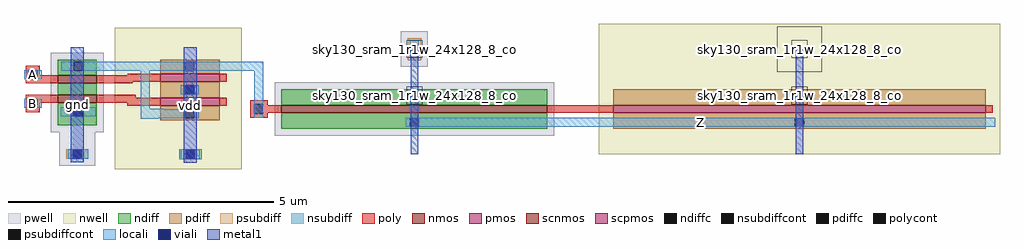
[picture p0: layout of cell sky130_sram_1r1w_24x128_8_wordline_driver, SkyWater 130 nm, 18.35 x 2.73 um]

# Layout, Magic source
magic
tech sky130B
magscale 1 2
<< locali >>
rect 70 282 136 316
rect 549 314 970 348
rect 70 174 136 208
rect 936 170 970 314
rect 1505 103 3722 137
<< metal1 >>
rect 246 -30 294 402
rect 670 -32 720 402
rect 1524 0 1552 395
rect 2972 0 3000 395
use sky130_fd_bd_sram__openram_dp_nand2_dec  sky130_fd_bd_sram__openram_dp_nand2_dec_0
transform 1 0 0 0 1 0
box 70 -56 888 476
use sky130_sram_1r1w_24x128_8_pinv_dec_0  sky130_sram_1r1w_24x128_8_pinv_dec_0_0
transform 1 0 876 0 1 0
box 44 0 2864 490
<< labels >>
rlabel locali s 2613 120 2613 120 4 Z
port 1 nsew
rlabel locali s 103 299 103 299 4 A
port 2 nsew
rlabel locali s 103 191 103 191 4 B
port 3 nsew
rlabel metal1 s 670 -32 720 402 4 vdd
port 4 nsew
rlabel metal1 s 2972 0 3000 395 4 vdd
port 4 nsew
rlabel metal1 s 1524 0 1552 395 4 gnd
port 5 nsew
rlabel metal1 s 246 -30 294 402 4 gnd
port 5 nsew
<< properties >>
string FIXED_BBOX 0 0 3722 395
<< end >>

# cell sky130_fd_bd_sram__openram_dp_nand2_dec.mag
magic
tech sky130B
magscale 1 2
<< nwell >>
rect 412 -56 888 476
<< pwell >>
rect 170 82 370 382
rect 202 -44 338 82
<< nmos >>
rect 196 266 344 296
rect 196 194 344 224
<< pmos >>
rect 582 272 806 302
rect 582 182 806 212
<< ndiff >>
rect 196 348 344 356
rect 196 314 257 348
rect 291 314 344 348
rect 196 296 344 314
rect 196 224 344 266
rect 196 176 344 194
rect 196 142 259 176
rect 293 142 344 176
rect 196 108 344 142
<< pdiff >>
rect 582 348 806 356
rect 582 314 677 348
rect 711 314 806 348
rect 582 302 806 314
rect 582 260 806 272
rect 582 226 677 260
rect 711 226 806 260
rect 582 212 806 226
rect 582 170 806 182
rect 582 136 677 170
rect 711 136 806 170
rect 582 128 806 136
<< ndiffc >>
rect 257 314 291 348
rect 259 142 293 176
<< pdiffc >>
rect 677 314 711 348
rect 677 226 711 260
rect 677 136 711 170
<< psubdiff >>
rect 228 17 312 18
rect 228 -17 253 17
rect 287 -17 312 17
rect 228 -18 312 -17
<< nsubdiff >>
rect 654 17 738 19
rect 654 -17 679 17
rect 713 -17 738 17
rect 654 -19 738 -17
<< psubdiffcont >>
rect 253 -17 287 17
<< nsubdiffcont >>
rect 679 -17 713 17
<< poly >>
rect 76 316 130 332
rect 76 282 86 316
rect 120 296 130 316
rect 460 296 582 302
rect 120 282 196 296
rect 76 266 196 282
rect 344 272 582 296
rect 806 272 832 302
rect 344 266 478 272
rect 76 208 196 224
rect 76 174 86 208
rect 120 194 196 208
rect 344 212 490 224
rect 344 194 582 212
rect 120 174 130 194
rect 76 158 130 174
rect 458 182 582 194
rect 806 182 832 212
<< polycont >>
rect 86 282 120 316
rect 86 174 120 208
<< locali >>
rect 70 282 86 316
rect 120 282 136 316
rect 210 314 257 348
rect 291 314 677 348
rect 711 314 888 348
rect 70 174 86 208
rect 120 174 136 208
rect 208 142 254 176
rect 293 142 340 176
rect 509 170 543 314
rect 660 226 677 260
rect 711 226 727 260
rect 509 169 598 170
rect 660 169 677 170
rect 509 136 677 169
rect 711 136 728 170
rect 509 135 685 136
rect 509 134 572 135
rect 236 17 312 18
rect 236 -17 253 17
rect 287 -17 312 17
rect 236 -18 312 -17
rect 660 17 730 19
rect 660 -17 679 17
rect 713 -17 730 17
rect 660 -19 730 -17
<< viali >>
rect 254 142 259 176
rect 259 142 288 176
rect 677 226 711 260
rect 253 -17 287 17
rect 679 -17 713 17
<< metal1 >>
rect 246 176 294 402
rect 246 142 254 176
rect 288 142 294 176
rect 246 17 294 142
rect 246 -17 253 17
rect 287 -17 294 17
rect 246 -30 294 -17
rect 670 260 720 402
rect 670 226 677 260
rect 711 226 720 260
rect 670 17 720 226
rect 670 -17 679 17
rect 713 -17 720 17
rect 670 -32 720 -17
<< labels >>
rlabel metal1 s 246 -30 294 402 4 GND
port 1 nsew
rlabel metal1 s 670 -32 720 402 4 VDD
port 2 nsew
rlabel locali s 103 191 103 191 4 B
port 3 nsew
rlabel locali s 103 299 103 299 4 A
port 4 nsew
rlabel locali s 854 331 854 331 4 Z
port 5 nsew
rlabel locali s 103 299 103 299 4 A
port 4 nsew
rlabel locali s 103 191 103 191 4 B
port 3 nsew
rlabel locali s 549 331 549 331 4 Z
port 5 nsew
rlabel metal1 s 695 185 695 185 4 vdd
port 6 nsew
rlabel metal1 s 270 186 270 186 4 gnd
port 7 nsew
<< properties >>
string FIXED_BBOX 0 0 876 395
<< end >>

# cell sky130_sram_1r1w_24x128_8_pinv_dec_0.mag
magic
tech sky130B
magscale 1 2
<< nwell >>
rect 1356 0 2864 490
<< poly >>
rect 77 155 136 185
rect 1188 155 1384 185
<< locali >>
rect 60 137 94 203
rect 629 103 2846 137
<< metal1 >>
rect 648 0 676 395
rect 2096 0 2124 395
use sky130_sram_1r1w_24x128_8_contact_12  sky130_sram_1r1w_24x128_8_contact_12_0
transform 1 0 2085 0 1 354
box -59 -43 109 125
use sky130_sram_1r1w_24x128_8_contact_13  sky130_sram_1r1w_24x128_8_contact_13_0
transform 1 0 2081 0 1 187
box 0 0 58 66
use sky130_sram_1r1w_24x128_8_contact_13  sky130_sram_1r1w_24x128_8_contact_13_1
transform 1 0 633 0 1 187
box 0 0 58 66
use sky130_sram_1r1w_24x128_8_contact_13  sky130_sram_1r1w_24x128_8_contact_13_2
transform 1 0 633 0 1 362
box 0 0 58 66
use sky130_sram_1r1w_24x128_8_contact_13  sky130_sram_1r1w_24x128_8_contact_13_3
transform 1 0 2081 0 1 362
box 0 0 58 66
use sky130_sram_1r1w_24x128_8_contact_14  sky130_sram_1r1w_24x128_8_contact_14_0
transform 1 0 637 0 1 354
box -26 -26 76 108
use sky130_sram_1r1w_24x128_8_contact_15  sky130_sram_1r1w_24x128_8_contact_15_0
transform 1 0 44 0 1 137
box 0 0 66 66
use sky130_sram_1r1w_24x128_8_nmos_m1_w5_000_sli_dli_da_p  sky130_sram_1r1w_24x128_8_nmos_m1_w5_000_sli_dli_da_p_0
transform 0 1 162 -1 0 245
box -26 -26 176 1026
use sky130_sram_1r1w_24x128_8_pmos_m1_w7_000_sli_dli_da_p  sky130_sram_1r1w_24x128_8_pmos_m1_w7_000_sli_dli_da_p_0
transform 0 1 1410 -1 0 245
box -59 -54 209 1454
<< labels >>
rlabel locali s 77 170 77 170 4 A
port 1 nsew
rlabel locali s 1737 120 1737 120 4 Z
port 2 nsew
rlabel metal1 s 648 0 676 395 4 gnd
port 3 nsew
rlabel metal1 s 2096 0 2124 395 4 vdd
port 4 nsew
<< properties >>
string FIXED_BBOX 0 0 2846 395
<< end >>

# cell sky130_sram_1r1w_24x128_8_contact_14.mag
magic
tech sky130B
<< pwell >>
rect -13 -13 38 54
<< psubdiff >>
rect 0 29 25 41
rect 0 12 4 29
rect 21 12 25 29
rect 0 0 25 12
<< psubdiffcont >>
rect 4 12 21 29
<< locali >>
rect 4 29 21 37
rect 4 4 21 12
<< properties >>
string FIXED_BBOX -12 -12 37 53
<< end >>

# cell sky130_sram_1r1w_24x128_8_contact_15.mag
magic
tech sky130B
<< poly >>
rect 0 25 33 33
rect 0 8 8 25
rect 25 8 33 25
rect 0 0 33 8
<< polycont >>
rect 8 8 25 25
<< locali >>
rect 8 25 25 33
rect 8 0 25 8
<< properties >>
string FIXED_BBOX -10 -10 43 43
<< end >>

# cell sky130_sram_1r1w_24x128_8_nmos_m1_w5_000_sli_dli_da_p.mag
magic
tech sky130B
magscale 1 2
<< pwell >>
rect -26 -26 176 1026
<< scnmos >>
rect 60 0 90 1000
<< ndiff >>
rect 0 0 60 1000
rect 90 0 150 1000
<< poly >>
rect 60 1000 90 1026
rect 60 -26 90 0
<< locali >>
rect 8 467 42 533
rect 108 467 142 533
use sky130_sram_1r1w_24x128_8_contact_10  sky130_sram_1r1w_24x128_8_contact_10_0
transform 1 0 100 0 1 467
box -26 -22 76 88
use sky130_sram_1r1w_24x128_8_contact_10  sky130_sram_1r1w_24x128_8_contact_10_1
transform 1 0 0 0 1 467
box -26 -22 76 88
<< labels >>
rlabel poly s 75 500 75 500 4 G
port 1 nsew
rlabel locali s 25 500 25 500 4 S
port 2 nsew
rlabel locali s 125 500 125 500 4 D
port 3 nsew
<< properties >>
string FIXED_BBOX -25 -26 175 1026
<< end >>

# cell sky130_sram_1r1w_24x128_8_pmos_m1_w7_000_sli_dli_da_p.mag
magic
tech sky130B
magscale 1 2
<< nwell >>
rect -54 -54 204 1454
<< scpmos >>
rect 60 0 90 1400
<< pdiff >>
rect 0 0 60 1400
rect 90 0 150 1400
<< poly >>
rect 60 1400 90 1426
rect 60 -26 90 0
<< locali >>
rect 8 667 42 733
rect 108 667 142 733
use sky130_sram_1r1w_24x128_8_contact_11  sky130_sram_1r1w_24x128_8_contact_11_0
transform 1 0 100 0 1 667
box -59 -51 109 117
use sky130_sram_1r1w_24x128_8_contact_11  sky130_sram_1r1w_24x128_8_contact_11_1
transform 1 0 0 0 1 667
box -59 -51 109 117
<< labels >>
rlabel poly s 75 700 75 700 4 G
port 1 nsew
rlabel locali s 25 700 25 700 4 S
port 2 nsew
rlabel locali s 125 700 125 700 4 D
port 3 nsew
<< properties >>
string FIXED_BBOX -54 -54 204 1454
<< end >>

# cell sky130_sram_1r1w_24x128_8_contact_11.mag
magic
tech sky130B
magscale 1 2
<< nwell >>
rect -59 -51 109 117
<< pdiff >>
rect 0 50 50 62
rect 0 16 8 50
rect 42 16 50 50
rect 0 4 50 16
<< pdiffc >>
rect 8 16 42 50
<< locali >>
rect 8 50 42 66
rect 8 0 42 16
<< properties >>
string FIXED_BBOX -59 -51 109 117
<< end >>

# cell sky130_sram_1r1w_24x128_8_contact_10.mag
magic
tech sky130B
<< pwell >>
rect -13 -11 38 44
<< ndiff >>
rect 0 25 25 31
rect 0 8 4 25
rect 21 8 25 25
rect 0 2 25 8
<< ndiffc >>
rect 4 8 21 25
<< locali >>
rect 4 25 21 33
rect 4 0 21 8
<< properties >>
string FIXED_BBOX -12 -10 37 43
<< end >>
